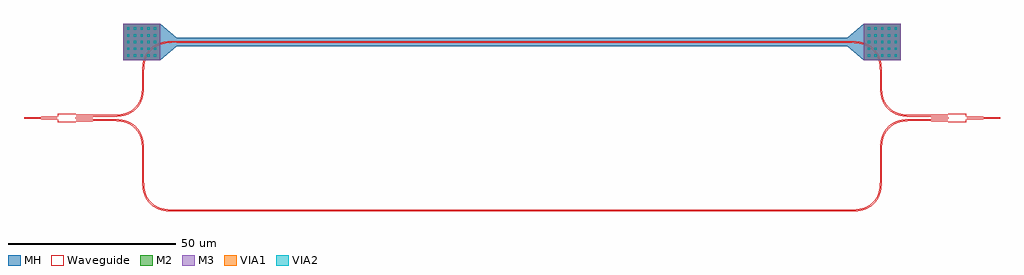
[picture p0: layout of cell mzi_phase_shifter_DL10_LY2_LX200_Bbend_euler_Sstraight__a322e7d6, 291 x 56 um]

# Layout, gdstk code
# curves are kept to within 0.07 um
from math import pi, radians
import gdstk
lib = gdstk.Library(unit=1e-6, precision=1e-09)
def R(c, l, rs):  # rectangles x0, y0, x1, y1
    for r in rs: c.add(gdstk.rectangle(r[:2], r[2:], *l))
def A(c, l, x, y, w, h, nx, ny, dx, dy):  # array of equal rectangles
    R(c, l, [(x+i*dx, y+j*dy, x+i*dx+w, y+j*dy+h) for i in range(nx) for j in range(ny)])
def P(c, l, *ps):  # polygons
    for p in ps: c.add(gdstk.Polygon(p, *l))
Waveguide = (1, 0)
VIA2 = (43, 0)
VIA1 = (44, 0)
M2 = (45, 0)
MH = (47, 0)
M3 = (49, 0)

mmi1x2_wnone_wt1_lt10_lm = lib.new_cell('mmi1x2_WNone_WT1_LT10_LM5p5_WM2p5_GM0p25_Ttaper_Sstraig_4e0f7121')
P(mmi1x2_wnone_wt1_lt10_lm, Waveguide, [(0,-1.25),(0,-0.5),(-10,-0.25),(-10,0.25),(0,0.5),(0,1.25),(5.5,1.25),(5.5,1.125),(15.5,0.875),(15.5,0.375),(5.5,0.125),(5.5,-0.125),(15.5,-0.375),(15.5,-0.875),(5.5,-1.125),(5.5,-1.25)])

bend_euler_rnone_a90_p0p = lib.new_cell('bend_euler_RNone_A90_P0p5_WAFTrue_NNone_ASNone_LNone_WN_f1f833fb')
P(bend_euler_rnone_a90_p0p, Waveguide, [(0,-0.25),(0,0.25),(2.881,0.353),(3.952,0.52),(4.99,0.806),(6.431,1.505),(7.575,2.425),(8.495,3.569),(9.194,5.01),(9.48,6.048),(9.647,7.119),(9.75,10),(10.25,10),(10.158,7.205),(9.797,5.254),(9.457,4.312),(9.066,3.545),(8.5,2.715),(7.928,2.072),(7.285,1.5),(6.455,0.934),(5.688,0.543),(4.746,0.203),(2.795,-0.158)])

straight_l2_n2_csstrip_w = lib.new_cell('straight_L2_N2_CSstrip_WNone')
R(straight_l2_n2_csstrip_w, Waveguide, [(0,-0.25,2,0.25)])

straight_l7_n2_csstrip_w = lib.new_cell('straight_L7_N2_CSstrip_WNone')
R(straight_l7_n2_csstrip_w, Waveguide, [(0,-0.25,7,0.25)])

straight_heater_metal_l2 = lib.new_cell('straight_heater_metal_L200_LUS0_LU5_LS0p1_LSI0p1_CSstri_5ea685aa')
R(straight_heater_metal_l2, Waveguide, [(0,-0.25,200,0.25)])
A(straight_heater_metal_l2, VIA2, -14.75, -4.35, 0.7, 0.7, 5, 5, 2, 2)
A(straight_heater_metal_l2, VIA2, 206.05, -4.35, 0.7, 0.7, 5, 5, 2, 2)
A(straight_heater_metal_l2, VIA1, -14.75, -4.35, 0.7, 0.7, 5, 5, 2, 2)
A(straight_heater_metal_l2, VIA1, 206.05, -4.35, 0.7, 0.7, 5, 5, 2, 2)
R(straight_heater_metal_l2, M2, [(-15.9,-5.5,-4.9,5.5), (204.9,-5.5,215.9,5.5)])
P(straight_heater_metal_l2, MH, [(-15.9,-5.5),(-15.9,5.5),(-4.9,5.5),(0.1,1.25),(199.9,1.25),(204.9,5.5),(215.9,5.5),(215.9,-5.5),(204.9,-5.5),(199.9,-1.25),(0.1,-1.25),(-4.9,-5.5)])
R(straight_heater_metal_l2, M3, [(-15.9,-5.5,-4.9,5.5), (204.9,-5.5,215.9,5.5)])

straight_l200_n2_csstrip = lib.new_cell('straight_L200_N2_CSstrip_WNone')
R(straight_l200_n2_csstrip, Waveguide, [(0,-0.25,200,0.25)])

mzi_phase_shifter_dl10_l = lib.new_cell('mzi_phase_shifter_DL10_LY2_LX200_Bbend_euler_Sstraight__a322e7d6')
mzi_phase_shifter_dl10_l.add(gdstk.Reference(mmi1x2_wnone_wt1_lt10_lm, (0,0)))
mzi_phase_shifter_dl10_l.add(gdstk.Reference(bend_euler_rnone_a90_p0p, (15.5,-0.625), x_reflection=True))
mzi_phase_shifter_dl10_l.add(gdstk.Reference(bend_euler_rnone_a90_p0p, (25.5,-17.625), rotation=3*pi/2))
mzi_phase_shifter_dl10_l.add(gdstk.Reference(bend_euler_rnone_a90_p0p, (15.5,0.625)))
mzi_phase_shifter_dl10_l.add(gdstk.Reference(bend_euler_rnone_a90_p0p, (35.5,22.625), rotation=pi))
mzi_phase_shifter_dl10_l.add(gdstk.Reference(bend_euler_rnone_a90_p0p, (245.5,12.625), rotation=pi/2))
mzi_phase_shifter_dl10_l.add(gdstk.Reference(bend_euler_rnone_a90_p0p, (245.5,10.625), rotation=3*pi/2))
mzi_phase_shifter_dl10_l.add(gdstk.Reference(bend_euler_rnone_a90_p0p, (235.5,-27.625)))
mzi_phase_shifter_dl10_l.add(gdstk.Reference(bend_euler_rnone_a90_p0p, (255.5,-0.625), rotation=pi))
mzi_phase_shifter_dl10_l.add(gdstk.Reference(straight_l2_n2_csstrip_w, (25.5,10.625), rotation=pi/2))
mzi_phase_shifter_dl10_l.add(gdstk.Reference(straight_l7_n2_csstrip_w, (25.5,-10.625), rotation=3*pi/2))
mzi_phase_shifter_dl10_l.add(gdstk.Reference(straight_heater_metal_l2, (35.5,22.625)))
mzi_phase_shifter_dl10_l.add(gdstk.Reference(straight_l200_n2_csstrip, (35.5,-27.625)))
mzi_phase_shifter_dl10_l.add(gdstk.Reference(mmi1x2_wnone_wt1_lt10_lm, (271,0), rotation=pi, x_reflection=True))
mzi_phase_shifter_dl10_l.add(gdstk.Reference(straight_l2_n2_csstrip_w, (245.5,10.625), rotation=pi/2))
mzi_phase_shifter_dl10_l.add(gdstk.Reference(straight_l7_n2_csstrip_w, (245.5,-17.625), rotation=pi/2))

lib.write_gds('mzi_phase_shifter_DL10_LY2_LX200_Bbend_euler_Sstraight__a322e7d6.gds')
